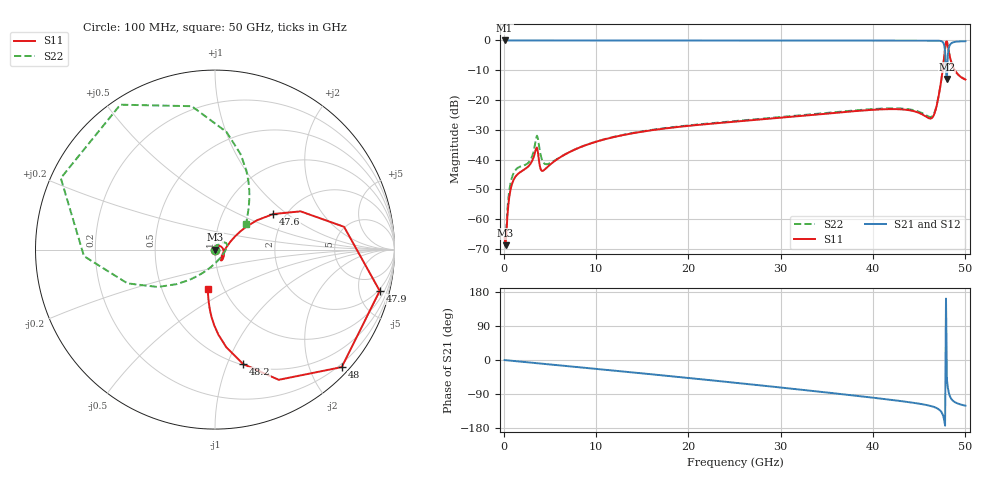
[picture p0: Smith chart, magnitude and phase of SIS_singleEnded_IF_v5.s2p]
! Touchstone file from project
# GHZ S MA R 50.000000
! Modal data exported
! Port[1] = IF_output:1
! Port[2] = RF_input:1
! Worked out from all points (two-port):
!   500 points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, 100 MHz to 50 GHz, reference 50 ohm
!   highest |S21| = 0.00 dB at 100 MHz (marker M1); lowest = -12.9 dB at 48 GHz (marker M2)
!   |S21| within 3 dB of the highest: start of sweep to 47.78 GHz; 48.18 GHz to end of sweep
!   lowest |S11| = -68.8 dB at 200 MHz (marker M3), VSWR 1.00, Z = 50 + j0.034 ohm
!   |S11| at or under -10 dB: start of sweep to 47.54 GHz; 48.85 GHz to end of sweep
!   |S22| runs from -69.1 to -0.3 dB; largest |S21 - S12| = 0
!   S11 on the Smith chart (normalised r, x): 100 MHz: 1.00, +0.00; 47.6 GHz: 1.73, +0.80; 47.9 GHz: 1.76, -7.71; 48 GHz: 0.14, -2.54; 48.2 GHz: 0.51, -1.14; 50 GHz: 0.84, -0.38
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0.1  0.0004826 21.1  1 -0.2  1 -0.2  0.0004337 155.9
! Gamma 5.867982E-003 5.433792E+000 0.000000E+000 0.000000E+000
! Port Impedance 5.000000E+001 0.000000E+000 5.000000E+001 0.000000E+000
0.2  0.0003652 68.7  1 -0.5  1 -0.5  0.0003523 93.7
0.6  0.002317 157.9  1 -1.4  1 -1.4  0.00296 17.2
1  0.004294 162.9  0.9999 -2.4  0.9999 -2.4  0.005572 9.1
2.8  0.008121 158.6  0.9996 -6.6  0.9996 -6.6  0.009363 8.3
3.5  0.01521 -144.6  0.9995 -8.3  0.9995 -8.3  0.02222 37.1
4.1  0.006526 24.7  0.9995 -9.7  0.9995 -9.7  0.01046 101.6
4.6  0.007179 59.8  0.9995 -10.8  0.9995 -10.8  0.008361 90.8
8.5  0.01659 64.2  0.9994 -19.9  0.9994 -19.9  0.01669 75.5
16.8  0.0323 39.8  0.9984 -39.6  0.9984 -39.6  0.03276 60.8
25.1  0.04337 9.2  0.9977 -60.1  0.9977 -60.1  0.04437 50.4
33.4  0.05604 -26.2  0.9966 -81.5  0.9966 -81.5  0.05764 42.6
41.7  0.07031 -57.5  0.9952 -104.4  0.9952 -104.4  0.07245 27.5
46.4  0.05039 -12.8  0.9961 -122.4  0.9961 -122.4  0.05314 -50.7
47.2  0.141 34.0  0.9871 -131.8  0.9871 -131.8  0.1418 -116.6
47.6  0.3798 31.4  0.9206 -147.7  0.9206 -147.7  0.3803 -146.8
47.9  0.946 -14.1  0.2899 161.9  0.2899 161.9  0.947 155.1
48  0.963 -42.8  0.2255 -51.5  0.2255 -51.5  0.9644 123.2
48.2  0.6566 -76.2  0.7455 -86.1  0.7455 -86.1  0.6583 84.4
48.4  0.4736 -87.8  0.8755 -99.7  0.8755 -99.7  0.4752 68.5
48.8  0.3263 -95.3  0.9415 -110.3  0.9415 -110.3  0.3279 54.5
50  0.2208 -100.8  0.9721 -120.5  0.9721 -120.5  0.2225 39.1
